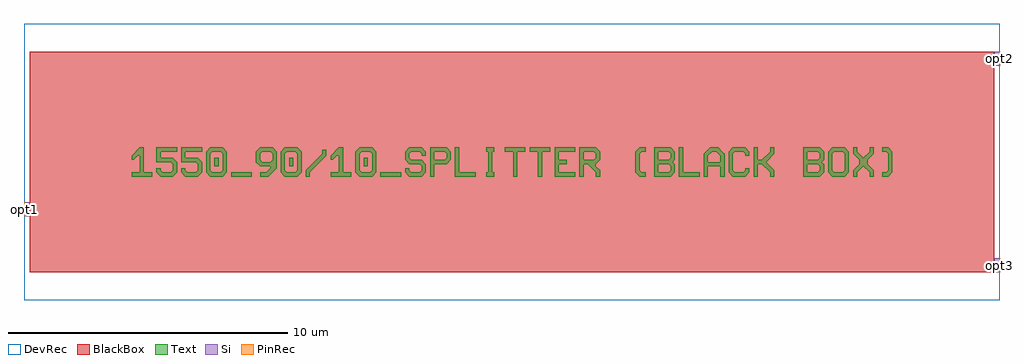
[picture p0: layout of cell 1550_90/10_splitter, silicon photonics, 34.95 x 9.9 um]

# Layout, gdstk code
import gdstk
lib = gdstk.Library(unit=1e-6, precision=1e-09)
def R(c, l, rs):  # rectangles x0, y0, x1, y1
    for r in rs: c.add(gdstk.rectangle(r[:2], r[2:], *l))
def A(c, l, x, y, w, h, nx, ny, dx, dy):  # array of equal rectangles
    R(c, l, [(x+i*dx, y+j*dy, x+i*dx+w, y+j*dy+h) for i in range(nx) for j in range(ny)])
def P(c, l, *ps):  # polygons
    for p in ps: c.add(gdstk.Polygon(p, *l))
Si = (1, 0)
PinRec = (1, 10)
Text = (10, 0)
DevRec = (68, 0)
BlackBox = (998, 0)

text = lib.new_cell('TEXT')
A(text, Text, 2.97, 0.371, 0.149, 0.297, 3, 1, 2.673, 0)
R(text, Text, [(3.564,0,4.307,0.149), (8.91,0,9.653,0.149)])
P(text, Text, [(0,0),(0,0.149),(0.297,0.149),(0.297,0.743),(0.223,0.743),(0.074,0.594),(0,0.594),(0,0.743),(0.297,1.04),(0.446,1.04),(0.446,0.149),(0.743,0.149),(0.743,0)],
  [(1.04,0),(0.891,0.149),(0.891,0.297),(1.04,0.297),(1.04,0.223),(1.114,0.149),(1.411,0.149),(1.485,0.223),(1.485,0.446),(1.411,0.52),(0.891,0.52),(0.891,1.04),(1.634,1.04),(1.634,0.891),(1.04,0.891),(1.04,0.668),(1.485,0.668),(1.634,0.52),(1.634,0.149),(1.485,0)],
  [(1.931,0),(1.782,0.149),(1.782,0.297),(1.931,0.297),(1.931,0.223),(2.005,0.149),(2.302,0.149),(2.376,0.223),(2.376,0.446),(2.302,0.52),(1.782,0.52),(1.782,1.04),(2.525,1.04),(2.525,0.891),(1.931,0.891),(1.931,0.668),(2.376,0.668),(2.525,0.52),(2.525,0.149),(2.376,0)],
  [(2.822,0),(2.673,0.149),(2.673,0.891),(2.822,1.04),(3.267,1.04),(3.416,0.891),(2.896,0.891),(2.822,0.817),(2.822,0.223),(2.896,0.149),(3.193,0.149),(3.267,0.223),(3.267,0.817),(3.193,0.891),(3.416,0.891),(3.416,0.149),(3.267,0)],
  [(4.604,0),(4.604,0.149),(4.826,0.149),(4.975,0.297),(4.975,0.371),(4.604,0.371),(4.455,0.52),(4.975,0.52),(5.049,0.594),(5.049,0.817),(4.975,0.891),(4.678,0.891),(4.604,0.817),(4.604,0.594),(4.678,0.52),(4.455,0.52),(4.455,0.891),(4.604,1.04),(5.049,1.04),(5.198,0.891),(5.198,0.297),(4.901,0)],
  [(5.495,0),(5.346,0.149),(5.346,0.891),(5.495,1.04),(5.94,1.04),(6.089,0.891),(5.569,0.891),(5.495,0.817),(5.495,0.223),(5.569,0.149),(5.866,0.149),(5.94,0.223),(5.94,0.817),(5.866,0.891),(6.089,0.891),(6.089,0.149),(5.94,0)],
  [(6.237,0),(6.237,0.223),(6.831,0.817),(6.831,0.965),(6.98,0.965),(6.98,0.743),(6.386,0.149),(6.386,0)],
  [(7.128,0),(7.128,0.149),(7.425,0.149),(7.425,0.743),(7.351,0.743),(7.202,0.594),(7.128,0.594),(7.128,0.743),(7.425,1.04),(7.574,1.04),(7.574,0.149),(7.871,0.149),(7.871,0)],
  [(8.168,0),(8.019,0.149),(8.019,0.891),(8.168,1.04),(8.613,1.04),(8.762,0.891),(8.242,0.891),(8.168,0.817),(8.168,0.223),(8.242,0.149),(8.539,0.149),(8.613,0.223),(8.613,0.817),(8.539,0.891),(8.762,0.891),(8.762,0.149),(8.613,0)],
  [(9.95,0),(9.801,0.149),(9.801,0.297),(9.95,0.297),(9.95,0.223),(10.024,0.149),(10.321,0.149),(10.395,0.223),(10.395,0.371),(10.321,0.446),(9.95,0.446),(9.801,0.594),(9.801,0.891),(9.95,1.04),(10.395,1.04),(10.544,0.891),(10.544,0.743),(10.395,0.743),(10.395,0.817),(10.321,0.891),(10.024,0.891),(9.95,0.817),(9.95,0.668),(10.024,0.594),(10.395,0.594),(10.544,0.446),(10.544,0.149),(10.395,0)],
  [(10.692,0),(10.692,1.04),(11.286,1.04),(11.435,0.891),(11.435,0.594),(11.286,0.446),(10.841,0.446),(10.841,0.594),(11.212,0.594),(11.286,0.668),(11.286,0.817),(11.212,0.891),(10.841,0.891),(10.841,0)],
  [(11.583,0),(11.583,1.04),(11.732,1.04),(11.732,0.149),(12.326,0.149),(12.326,0)],
  [(12.697,0),(12.697,0.149),(12.771,0.149),(12.771,0.891),(12.697,0.891),(12.697,1.04),(12.994,1.04),(12.994,0.891),(12.92,0.891),(12.92,0.149),(12.994,0.149),(12.994,0)],
  [(13.662,0),(13.662,0.891),(13.365,0.891),(13.365,1.04),(14.108,1.04),(14.108,0.891),(13.811,0.891),(13.811,0)],
  [(14.553,0),(14.553,0.891),(14.256,0.891),(14.256,1.04),(14.999,1.04),(14.999,0.891),(14.702,0.891),(14.702,0)],
  [(15.147,0),(15.147,1.04),(15.89,1.04),(15.89,0.891),(15.296,0.891),(15.296,0.594),(15.593,0.594),(15.593,0.446),(15.296,0.446),(15.296,0.149),(15.89,0.149),(15.89,0)],
  [(16.038,0),(16.038,1.04),(16.632,1.04),(16.781,0.891),(16.187,0.891),(16.187,0.594),(16.558,0.594),(16.632,0.668),(16.632,0.817),(16.558,0.891),(16.781,0.891),(16.781,0.594),(16.632,0.446),(16.632,0.371),(16.781,0.223),(16.781,0),(16.632,0),(16.632,0.149),(16.335,0.446),(16.187,0.446),(16.187,0)],
  [(18.191,0),(18.043,0.149),(18.043,0.891),(18.191,1.04),(18.414,1.04),(18.414,0.891),(18.266,0.891),(18.191,0.817),(18.191,0.223),(18.266,0.149),(18.414,0.149),(18.414,0)],
  [(18.711,0),(18.711,1.04),(19.305,1.04),(19.454,0.891),(18.86,0.891),(18.86,0.594),(19.231,0.594),(19.305,0.668),(19.305,0.817),(19.231,0.891),(19.454,0.891),(19.454,0.594),(19.379,0.52),(19.454,0.446),(18.86,0.446),(18.86,0.149),(19.231,0.149),(19.305,0.223),(19.305,0.371),(19.231,0.446),(19.454,0.446),(19.454,0.149),(19.305,0)],
  [(19.602,0),(19.602,1.04),(19.751,1.04),(19.751,0.149),(20.345,0.149),(20.345,0)],
  [(20.493,0),(20.493,0.817),(20.716,1.04),(21.013,1.04),(21.161,0.891),(20.79,0.891),(20.642,0.743),(20.642,0.52),(21.087,0.52),(21.087,0.743),(20.939,0.891),(21.161,0.891),(21.236,0.817),(21.236,0),(21.087,0),(21.087,0.371),(20.642,0.371),(20.642,0)],
  [(21.533,0),(21.384,0.149),(21.384,0.891),(21.533,1.04),(21.978,1.04),(22.127,0.891),(22.127,0.743),(21.978,0.743),(21.978,0.817),(21.904,0.891),(21.607,0.891),(21.533,0.817),(21.533,0.223),(21.607,0.149),(21.904,0.149),(21.978,0.223),(21.978,0.297),(22.127,0.297),(22.127,0.149),(21.978,0)],
  [(22.275,0),(22.275,1.04),(22.424,1.04),(22.424,0.594),(22.572,0.594),(22.869,0.891),(22.869,1.04),(23.018,1.04),(23.018,0.817),(22.721,0.52),(23.018,0.223),(23.018,0),(22.869,0),(22.869,0.149),(22.572,0.446),(22.424,0.446),(22.424,0)],
  [(24.057,0),(24.057,1.04),(24.651,1.04),(24.8,0.891),(24.206,0.891),(24.206,0.594),(24.577,0.594),(24.651,0.668),(24.651,0.817),(24.577,0.891),(24.8,0.891),(24.8,0.594),(24.725,0.52),(24.8,0.446),(24.206,0.446),(24.206,0.149),(24.577,0.149),(24.651,0.223),(24.651,0.371),(24.577,0.446),(24.8,0.446),(24.8,0.149),(24.651,0)],
  [(25.097,0),(24.948,0.149),(24.948,0.891),(25.097,1.04),(25.542,1.04),(25.691,0.891),(25.691,0.52),(25.542,0.52),(25.542,0.817),(25.468,0.891),(25.171,0.891),(25.097,0.817),(25.097,0.223),(25.171,0.149),(25.468,0.149),(25.542,0.223),(25.542,0.52),(25.691,0.52),(25.691,0.149),(25.542,0)],
  [(25.839,0),(25.839,0.223),(26.062,0.446),(26.062,0.594),(25.839,0.817),(25.839,1.04),(25.988,1.04),(25.988,0.891),(26.21,0.668),(26.433,0.891),(26.433,1.04),(26.582,1.04),(26.582,0.817),(26.359,0.594),(26.359,0.446),(26.582,0.223),(26.582,0),(26.433,0),(26.433,0.149),(26.21,0.371),(25.988,0.149),(25.988,0)],
  [(26.879,0),(26.879,0.149),(27.027,0.149),(27.101,0.223),(27.101,0.817),(27.027,0.891),(26.879,0.891),(26.879,1.04),(27.101,1.04),(27.25,0.891),(27.25,0.149),(27.101,0)])

c_1550_90_10_splitter = lib.new_cell('1550_90/10_splitter')
R(c_1550_90_10_splitter, Si, [(17.265,-3.949,17.465,-3.449), (-17.465,-1.936,-17.265,-1.436), (17.265,3.45,17.465,3.95)])
R(c_1550_90_10_splitter, DevRec, [(-17.465,-4.949,17.465,4.95)])
R(c_1550_90_10_splitter, BlackBox, [(-17.265,-3.949,17.265,3.95)])
c_1550_90_10_splitter.add(gdstk.FlexPath([(-17.455,-1.686),(-17.475,-1.686)], 0.5, ends="flush", simple_path=True, layer=1, datatype=10))  # PinRec
c_1550_90_10_splitter.add(gdstk.FlexPath([(17.455,3.7),(17.475,3.7)], 0.5, ends="flush", simple_path=True, layer=1, datatype=10))  # PinRec
c_1550_90_10_splitter.add(gdstk.FlexPath([(17.455,-3.699),(17.475,-3.699)], 0.5, ends="flush", simple_path=True, layer=1, datatype=10))  # PinRec
c_1550_90_10_splitter.add(gdstk.Reference(text, (-13.625,-0.52)))
c_1550_90_10_splitter.add(gdstk.Label('opt1', (-17.465,-1.686), layer=1, texttype=10))
c_1550_90_10_splitter.add(gdstk.Label('opt2', (17.465,3.7), layer=1, texttype=10))
c_1550_90_10_splitter.add(gdstk.Label('opt3', (17.465,-3.699), layer=1, texttype=10))
c_1550_90_10_splitter.add(gdstk.Label('In', (-17.015,-1.686), layer=10, texttype=0))
c_1550_90_10_splitter.add(gdstk.Label('10%', (17.015,3.7), layer=10, texttype=0))
c_1550_90_10_splitter.add(gdstk.Label('90%', (17.015,-3.699), layer=10, texttype=0))

lib.write_gds('1550_90_10_splitter.gds')
